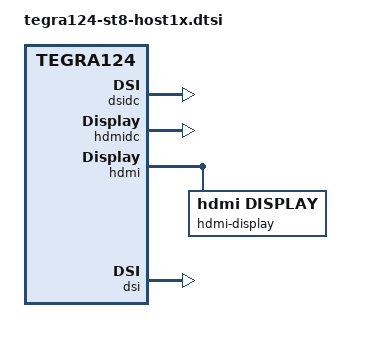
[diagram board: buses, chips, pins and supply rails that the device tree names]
#include <dt-bindings/display/tegra-dc.h>
#include <dt-bindings/memory/tegra124-mc.h>

#include "panel-st8.dtsi"

/ {
    host1x: host1x@0,50000000 {
        compatible = "nvidia,tegra124-host1x", "simple-bus";
        wakeup-capable;
        reg = <0x0 0x50000000 0x0 0x28000>;
        interrupts = <0x0 0x41 0x4 0x0 0x43 0x4>;
        iommus = <&smmu TEGRA_SWGROUP_EPP>,
        <&smmu TEGRA_SWGROUP_HC>,
        <&smmu TEGRA_SWGROUP_HDA>,
        <&smmu TEGRA_SWGROUP_VDE>;
        nvidia,memory-clients = <0x4 0x6 0x7 0x11>;
        #address-cells = <1>;
        #size-cells = <1>;
        ranges = <0x53000000 0x0 0x53000000 0x6000000 0x60001000 0x0 0x60001000 0xe200>;
        
        // Internal DSI display controller
        dsidc: dc@0,54200000 {
            compatible = "nvidia,tegra124-dc";
            interrupts = <0 73 0x04>;
            reg = <0x54200000 0x40000>;
            iommus = <&smmu TEGRA_SWGROUP_DC>,
            <&smmu TEGRA_SWGROUP_DC12>;
            status = "okay";
            nvidia,dc-flags = <TEGRA_DC_FLAG_ENABLED>;
            nvidia,emc-clk-rate = <204000000>;
            nvidia,cmu-enable = <1>;
            nvidia,low-v-win = <0x2>;
            nvidia,fb-bpp = <32>; /* bits per pixel */
            nvidia,fb-flags = <TEGRA_FB_FLIP_ON_PROBE>;
        };
        
        // HDMI out display controller
        hdmidc: dc@0,54240000 {
            compatible = "nvidia,tegra124-dc";
            reg = <0x54240000 0x40000>;
            iommus = <&smmu TEGRA_SWGROUP_DCB>;
            interrupts = <0 74 0x04>;
            nvidia,dc-flags = <TEGRA_DC_FLAG_ENABLED>;
            nvidia,emc-clk-rate = <300000000>;
            nvidia,cmu-enable = <1>;
            nvidia,fb-bpp = <32>; /* bits per pixel */
            nvidia,fb-flags = <TEGRA_FB_FLIP_ON_PROBE>;
            status = "okay";
        };
        
        // Mini-HDMI external connector
        hdmi: hdmi@0,54280000 {
            compatible = "nvidia,tegra124-hdmi";
            reg = <0x54280000 0x40000>;
            interrupts = <0x0 0x4b 0x4>;
            status = "okay";
            nvidia,ddc-i2c-bus = <&hdmi_ddc>;
            nvidia,hpd-gpio = <&gpio TEGRA_GPIO(N, 7) 1>; /* PN7 */
            
            hdmi-display {
                status = "okay";
                compatible = "hdmi,display";
                disp-default-out {
                    nvidia,out-type = <TEGRA_DC_OUT_HDMI>;
                    nvidia,out-flags = <TEGRA_DC_OUT_HOTPLUG_HIGH>;
                    nvidia,out-parent-clk = "pll_d2";
                    nvidia,out-max-pixclk = <3367>; /* KHZ2PICOS(297000) */
                    nvidia,out-align = <TEGRA_DC_ALIGN_MSB>;
                    nvidia,out-order = <TEGRA_DC_ORDER_RED_BLUE>;
                    nvidia,out-xres = <1920>;
                    nvidia,out-yres = <1080>;
                };
                tmds-config {
                    tmds-cfg@0 {
                        version = <1 0>;
                        pclk = <27000000>;
                        pll0 = <0x01003010>;
                        pll1 = <0x00301b00>;
                        pe-current = <0x00000000>;
                        drive-current = <0x1C1C1C1C>;
                        peak-current = <0x00000000>;
                        pad-ctls0-mask = <0xfffff0ff>;
                        pad-ctls0-setting = <0x00000400>;
                    };
                    tmds-cfg@1 {
                        version = <1 0>;
                        pclk = <74250000>;
                        pll0 = <0x01003110>;
                        pll1 = <0x00301500>;
                        pe-current = <0x00000000>;
                        drive-current = <0x23232323>;
                        peak-current = <0x00000000>;
                        pad-ctls0-mask = <0xfffff0ff>;
                        pad-ctls0-setting = <0x00000400>;
                    };
                    tmds-cfg@2 {
                        version = <1 0>;
                        pclk = <148500000>;
                        pll0 = <0x01003310>;
                        pll1 = <0x10300F00>;
                        pe-current = <0x00000000>;
                        drive-current = <0x2A2C2C2A>;
                        peak-current = <0x00000000>;
                        pad-ctls0-mask = <0xfffff0ff>;
                        pad-ctls0-setting = <0x00000400>;
                    };
                    tmds-cfg@3 {
                        version = <1 0>;
                        pclk = <0x7fffffff>;
                        pll0 = <0x01003f10>;
                        pll1 = <0x10300700>;
                        pe-current = <0x00000000>;
                        drive-current = <0x30323333>;
                        peak-current = <0x10101010>;
                        pad-ctls0-mask = <0xfffff0ff>;
                        pad-ctls0-setting = <0x00000600>;
                    };
                };
            };
        };
        
        // Internal LCD display
        dsi: dsi@0,54300000 {
            compatible = "nvidia,tegra124-dsi";
            reg = <0x54300000 0x40000 0x54400000 0x40000>;
            nvidia,dsi-controller-vs = <DSI_VS_1>;
            status = "okay";
            
            panel-a-wuxga-8-0 {
                status = "okay";
                nvidia,dsi-boardinfo = <1761 0 0 1>;
                nvidia,panel-rst-gpio = <&gpio TEGRA_GPIO(N, 4) 0>; /* PN4 */
                nvidia,panel-bl-pwm-gpio = <&gpio TEGRA_GPIO(H, 1) 0>; /* PH1 */
                disp-default-out {
                    nvidia,out-rotation = <180>;
                    nvidia,out-flags = <TEGRA_DC_OUT_CONTINUOUS_MODE TEGRA_DC_OUT_INITIALIZED_MODE>;
                };
                smartdimmer {
                    status = "disabled";
                };
            };
        };
    };
};
